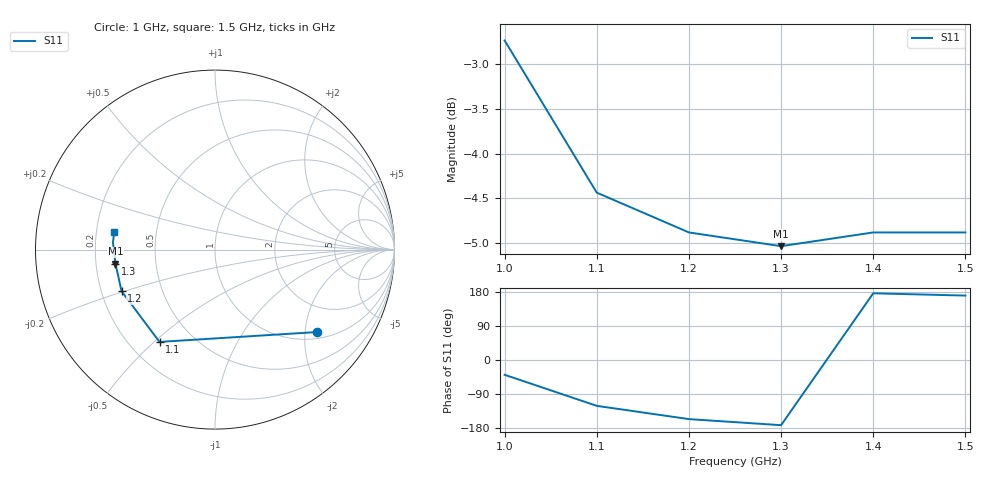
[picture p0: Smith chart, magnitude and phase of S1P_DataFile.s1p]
! Example template for S1P one port Touchstone data file
! Sample 1 port data
#  GHz  S  MA  R  50
! freq1  magS11  angS11
! freq2  magS11  angS11
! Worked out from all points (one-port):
!   6 points, 1 GHz to 1.5 GHz, reference 50 ohm
!   lowest |S11| = -5.0 dB at 1.3 GHz (marker M1), VSWR 3.55, Z = 14.2 - j3.22 ohm
!   |S11| at or under -10 dB: nowhere
!   S11 on the Smith chart (normalised r, x): 1 GHz: 1.17, -2.31; 1.1 GHz: 0.32, -0.52; 1.2 GHz: 0.29, -0.20; 1.3 GHz: 0.28, -0.06; 1.5 GHz: 0.28, +0.08
1  0.73 -39.0
1.1  0.6 -121.0
1.2  0.57 -156.0
1.3  0.56 -172.0
1.4  0.57 176.0
1.5  0.57 170.0
